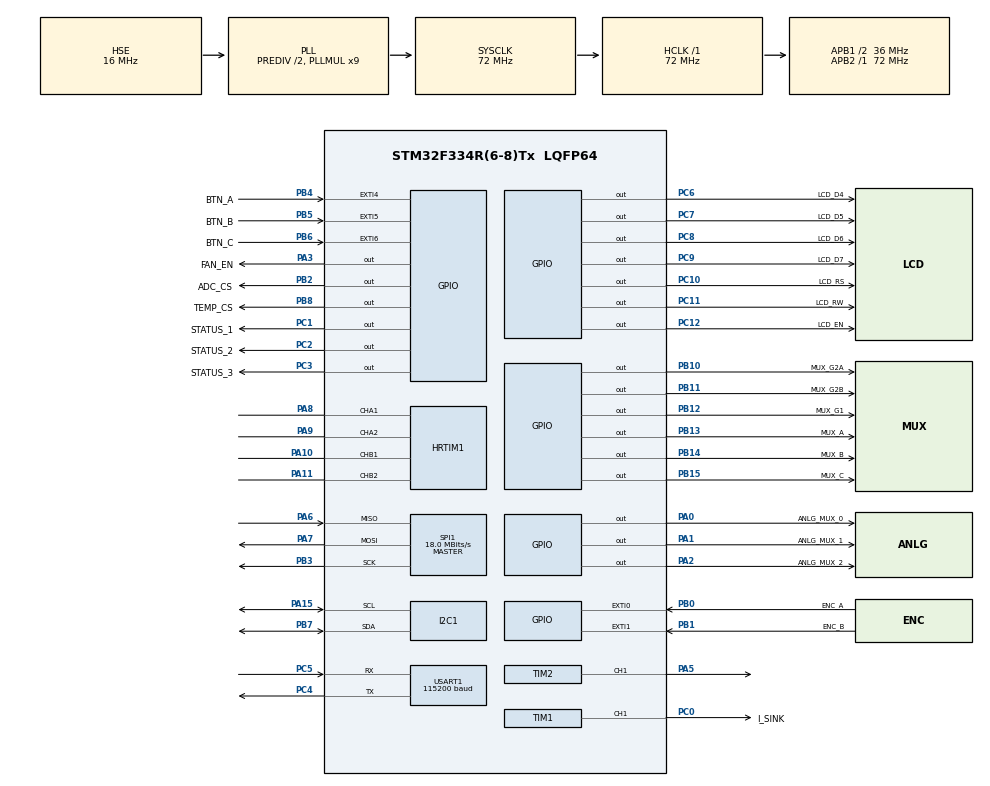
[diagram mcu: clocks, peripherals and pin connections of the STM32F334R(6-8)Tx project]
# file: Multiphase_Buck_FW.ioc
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HRTIM1.AutoDelayedMode2-Output_TA1TA2=HRTIM_AUTODELAYEDMODE_AUTODELAYED_NOTIMEOUT
HRTIM1.AutoDelayedMode2-Output_TB1TB2=HRTIM_AUTODELAYEDMODE_AUTODELAYED_NOTIMEOUT
HRTIM1.CompareUnit1-MasterTimer=HRTIM_COMPAREUNIT_1
HRTIM1.CompareUnit1-Output_TA1TA2=HRTIM_COMPAREUNIT_1
HRTIM1.CompareUnit1-Output_TB1TB2=HRTIM_COMPAREUNIT_1
HRTIM1.CompareUnit2-Output_TA1TA2=HRTIM_COMPAREUNIT_2
HRTIM1.CompareUnit2-Output_TB1TB2=HRTIM_COMPAREUNIT_2
HRTIM1.CompareUnit3-Output_TA1TA2=HRTIM_COMPAREUNIT_3
HRTIM1.CompareUnit3-Output_TB1TB2=HRTIM_COMPAREUNIT_3
HRTIM1.CompareValue1-MasterTimer=6000
HRTIM1.CompareValue1-Output_TA1TA2=6100
HRTIM1.CompareValue1-Output_TB1TB2=6000
HRTIM1.CompareValue2-Output_TA1TA2=6200
HRTIM1.CompareValue2-Output_TB1TB2=0x6100
HRTIM1.CompareValue3-Output_TA1TA2=12200
HRTIM1.CompareValue3-Output_TB1TB2=12000
HRTIM1.DeadTimeInsertion-Output_TA1TA2=HRTIM_TIMDEADTIMEINSERTION_DISABLED
HRTIM1.InterruptRequests1-Output_TA1TA2=HRTIM_TIM_IT_CMP1
HRTIM1.ModeTimeBase-Output_TA1TA2=HRTIM_MODE_SINGLESHOT_RETRIGGERABLE
HRTIM1.ModeTimeBase-Output_TB1TB2=HRTIM_MODE_SINGLESHOT_RETRIGGERABLE
HRTIM1.NumberInterruptRequests-Output_TA1TA2=0
HRTIM1.NumberResetSource1-Output_TA1TA2=1
HRTIM1.NumberResetSource1-Output_TB1TB2=1
HRTIM1.NumberResetSource2_TA=1
HRTIM1.NumberResetSource2_TB=1
HRTIM1.NumberResetTrigger-Output_TA1TA2=1
HRTIM1.NumberResetTrigger-Output_TB1TB2=1
HRTIM1.NumberSetSource1-Output_TA1TA2=1
HRTIM1.NumberSetSource1-Output_TB1TB2=1
HRTIM1.NumberSetSource2_TA=1
HRTIM1.NumberSetSource2_TB=1
HRTIM1.Periode_MASTER=0x2FFF
HRTIM1.Periode_TA=0x2fff
HRTIM1.Periode_TB=0x2FFF
HRTIM1.PrescalerRatio_TA=HRTIM_PRESCALERRATIO_MUL32
HRTIM1.ResetOutput1_Source1-Output_TA1TA2=HRTIM_OUTPUTRESET_TIMCMP1
HRTIM1.ResetOutput1_Source1-Output_TB1TB2=HRTIM_OUTPUTRESET_TIMCMP1
HRTIM1.ResetOutput2_Source1-Output_TA1TA2=HRTIM_OUTPUTRESET_TIMCMP3
HRTIM1.ResetOutput2_Source1-Output_TB1TB2=HRTIM_OUTPUTRESET_TIMCMP3
HRTIM1.ResetTrigger1-Output_TA1TA2=HRTIM_TIMRESETTRIGGER_MASTER_PER
HRTIM1.ResetTrigger1-Output_TB1TB2=HRTIM_TIMRESETTRIGGER_MASTER_CMP1
HRTIM1.SetOutput1_Source1-Output_TA1TA2=HRTIM_OUTPUTSET_MASTERPER
HRTIM1.SetOutput1_Source1-Output_TB1TB2=HRTIM_OUTPUTSET_MASTERCMP1
HRTIM1.SetOutput2_Source1-Output_TA1TA2=HRTIM_OUTPUTSET_TIMCMP2
HRTIM1.SetOutput2_Source1-Output_TB1TB2=HRTIM_OUTPUTSET_TIMCMP2
Mcu.Family=STM32F3
Mcu.Name=STM32F334R(6-8)Tx
Mcu.Package=LQFP64
NVIC.EXTI0_IRQn=true\:0\:0\:false\:false\:true\:true\:true
NVIC.EXTI1_IRQn=true\:0\:0\:false\:false\:true\:true\:true
NVIC.EXTI4_IRQn=true\:0\:0\:false\:false\:true\:true\:true
NVIC.EXTI9_5_IRQn=true\:0\:0\:false\:false\:true\:true\:true
NVIC.PriorityGroup=NVIC_PRIORITYGROUP_4
NVIC.TIM3_IRQn=true\:0\:0\:false\:false\:true\:true\:true
NVIC.TIM6_DAC1_IRQn=true\:0\:0\:false\:false\:true\:true\:true
PA0.GPIO_Label=ANLG_MUX_0
PA0.GPIO_Speed=GPIO_SPEED_FREQ_HIGH
PA0.Signal=GPIO_Output
PA1.GPIO_Label=ANLG_MUX_1
PA1.GPIO_Speed=GPIO_SPEED_FREQ_HIGH
PA1.Signal=GPIO_Output
PA10.Mode=Output_TB1TB2
PA10.Signal=HRTIM1_CHB1
PA11.Mode=Output_TB1TB2
PA11.Signal=HRTIM1_CHB2
PA13.Mode=Serial_Wire
PA13.Signal=SYS_JTMS-SWDIO
PA14.Mode=Serial_Wire
PA14.Signal=SYS_JTCK-SWCLK
PA15.Mode=I2C
PA15.Signal=I2C1_SCL
PA2.GPIO_Label=ANLG_MUX_2
PA2.GPIO_Speed=GPIO_SPEED_FREQ_HIGH
PA2.Signal=GPIO_Output
PA3.GPIO_Label=FAN_EN
PA3.GPIO_Speed=GPIO_SPEED_FREQ_LOW
PA3.PinState=GPIO_PIN_SET
PA3.Signal=GPIO_Output
PA5.Signal=S_TIM2_CH1_ETR
PA6.Mode=Full_Duplex_Master
PA6.Signal=SPI1_MISO
PA7.Mode=Full_Duplex_Master
PA7.Signal=SPI1_MOSI
PA8.Mode=Output_TA1TA2
PA8.Signal=HRTIM1_CHA1
PA9.Mode=Output_TA1TA2
PA9.Signal=HRTIM1_CHA2
PB0.GPIO_Label=ENC_A
PB0.GPIO_PuPd=GPIO_PULLDOWN
PB0.Signal=GPXTI0
PB1.GPIO_Label=ENC_B
PB1.GPIO_PuPd=GPIO_PULLDOWN
PB1.Signal=GPXTI1
PB10.GPIO_Label=MUX_G2A
PB10.GPIO_Speed=GPIO_SPEED_FREQ_HIGH
PB10.PinState=GPIO_PIN_SET
PB10.Signal=GPIO_Output
PB11.GPIO_Label=MUX_G2B
PB11.GPIO_Speed=GPIO_SPEED_FREQ_HIGH
PB11.PinState=GPIO_PIN_SET
PB11.Signal=GPIO_Output
PB12.GPIO_Label=MUX_G1
PB12.GPIO_Speed=GPIO_SPEED_FREQ_HIGH
PB12.Signal=GPIO_Output
PB13.GPIO_Label=MUX_A
PB13.GPIO_Speed=GPIO_SPEED_FREQ_HIGH
PB13.Signal=GPIO_Output
PB14.GPIO_Label=MUX_B
PB14.GPIO_Speed=GPIO_SPEED_FREQ_HIGH
PB14.Signal=GPIO_Output
PB15.GPIO_Label=MUX_C
PB15.GPIO_Speed=GPIO_SPEED_FREQ_HIGH
PB15.Signal=GPIO_Output
PB2.GPIO_Label=ADC_CS
PB2.GPIO_Speed=GPIO_SPEED_FREQ_HIGH
PB2.PinState=GPIO_PIN_SET
PB2.Signal=GPIO_Output
PB3.Mode=Full_Duplex_Master
PB3.Signal=SPI1_SCK
PB4.GPIO_Label=BTN_A
PB4.GPIO_PuPd=GPIO_PULLDOWN
PB4.Signal=GPXTI4
PB5.GPIO_Label=BTN_B
PB5.GPIO_PuPd=GPIO_PULLDOWN
PB5.Signal=GPXTI5
PB6.GPIO_Label=BTN_C
PB6.GPIO_PuPd=GPIO_PULLDOWN
PB6.Signal=GPXTI6
PB7.Mode=I2C
PB7.Signal=I2C1_SDA
PB8.GPIO_Label=TEMP_CS
PB8.GPIO_Speed=GPIO_SPEED_FREQ_HIGH
PB8.PinState=GPIO_PIN_SET
PB8.Signal=GPIO_Output
PC0.GPIO_Label=I_SINK
PC0.Signal=S_TIM1_CH1
PC1.GPIO_Label=STATUS_1
PC1.Signal=GPIO_Output
PC10.GPIO_Label=LCD_RS
PC10.GPIO_Speed=GPIO_SPEED_FREQ_HIGH
PC10.Signal=GPIO_Output
PC11.GPIO_Label=LCD_RW
PC11.GPIO_Speed=GPIO_SPEED_FREQ_HIGH
PC11.Signal=GPIO_Output
PC12.GPIO_Label=LCD_EN
PC12.GPIO_Speed=GPIO_SPEED_FREQ_HIGH
PC12.Signal=GPIO_Output
PC2.GPIO_Label=STATUS_2
PC2.Signal=GPIO_Output
PC3.GPIO_Label=STATUS_3
PC3.Signal=GPIO_Output
PC4.Mode=Asynchronous
PC4.Signal=USART1_TX
PC5.Mode=Asynchronous
PC5.Signal=USART1_RX
PC6.GPIO_Label=LCD_D4
PC6.Signal=GPIO_Output
PC7.GPIO_Label=LCD_D5
PC7.GPIO_Speed=GPIO_SPEED_FREQ_HIGH
PC7.Signal=GPIO_Output
PC8.GPIO_Label=LCD_D6
PC8.GPIO_Speed=GPIO_SPEED_FREQ_HIGH
PC8.Signal=GPIO_Output
PC9.GPIO_Label=LCD_D7
PC9.GPIO_Speed=GPIO_SPEED_FREQ_HIGH
PC9.Signal=GPIO_Output
PF0\ /\ OSC_IN.Mode=HSE-External-Oscillator
PF0\ /\ OSC_IN.Signal=RCC_OSC_IN
PF1\ /\ OSC_OUT.Mode=HSE-External-Oscillator
PF1\ /\ OSC_OUT.Signal=RCC_OSC_OUT
ProjectManager.HeapSize=0x200
ProjectManager.StackSize=0x400
ProjectManager.TargetToolchain=Makefile
RCC.AHBFreq_Value=72000000
RCC.APB1CLKDivider=RCC_HCLK_DIV2
RCC.APB1Freq_Value=36000000
RCC.APB1TimFreq_Value=72000000
RCC.APB2Freq_Value=72000000
RCC.APB2TimFreq_Value=72000000
RCC.CortexFreq_Value=72000000
RCC.HCLKFreq_Value=72000000
RCC.HRTIMSelection=RCC_HRTIM1CLK_PLLCLK
RCC.HSE_VALUE=16000000
RCC.HSI_VALUE=8000000
RCC.LSE_VALUE=32768
RCC.PLLMUL=RCC_PLL_MUL9
RCC.PLLSourceVirtual=RCC_PLLSOURCE_HSE
RCC.RCC_PLLsource_Clock_Source_FROM_HSE=RCC_HSE_PREDIV_DIV2
RCC.SYSCLKFreq_VALUE=72000000
RCC.SYSCLKSourceVirtual=RCC_SYSCLKSOURCE_PLLCLK
SH.S_TIM1_CH1.0=TIM1_CH1,PWM Generation1 CH1
SH.S_TIM2_CH1_ETR.0=TIM2_CH1,PWM Generation1 CH1
SPI1.BaudRatePrescaler=SPI_BAUDRATEPRESCALER_4
SPI1.CLKPhase=SPI_PHASE_2EDGE
SPI1.CLKPolarity=SPI_POLARITY_HIGH
SPI1.CalculateBaudRate=18.0 MBits/s
SPI1.DataSize=SPI_DATASIZE_8BIT
SPI1.Direction=SPI_DIRECTION_2LINES
SPI1.Mode=SPI_MODE_MASTER
SPI1.VirtualType=VM_MASTER
TIM1.AutoReloadPreload=TIM_AUTORELOAD_PRELOAD_ENABLE
TIM1.BreakState=TIM_BREAK_ENABLE
TIM1.Channel-PWM\ Generation1\ CH1=TIM_CHANNEL_1
TIM1.ClockDivision=TIM_CLOCKDIVISION_DIV1
TIM1.OCMode_PWM-PWM\ Generation1\ CH1=TIM_OCMODE_PWM1
TIM1.Period=0x1f4
TIM1.Prescaler=0
TIM2.AutoReloadPreload=TIM_AUTORELOAD_PRELOAD_ENABLE
TIM2.Channel-PWM\ Generation1\ CH1=TIM_CHANNEL_1
TIM2.Period=0xFFFF
TIM2.Pulse-PWM\ Generation1\ CH1=30000
TIM3.AutoReloadPreload=TIM_AUTORELOAD_PRELOAD_ENABLE
TIM3.Channel-Output\ Compare1\ No\ Output=TIM_CHANNEL_1
TIM3.OC1Preload=ENABLE
TIM3.OCMode_1=TIM_OCMODE_TIMING
TIM3.Period=2400
TIM3.Pulse-Output\ Compare1\ No\ Output=2400
TIM6.AutoReloadPreload=TIM_AUTORELOAD_PRELOAD_ENABLE
TIM6.Period=0xFFFF
TIM6.Prescaler=36
USART1.BaudRate=115200
USART1.VirtualMode-Asynchronous=VM_ASYNC
VP_HRTIM1_VS_hrtimMasterTimerNoOutput.Mode=MasterTimer
VP_TIM1_VS_ClockSourceINT.Mode=Internal
VP_TIM3_VS_ClockSourceINT.Mode=Internal
VP_TIM3_VS_no_output1.Mode=Output Compare1 No Output
VP_TIM6_VS_ClockSourceINT.Mode=Enable_Timer
board=custom

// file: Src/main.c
/* USER CODE BEGIN Header */
/**
  ******************************************************************************
  * @file           : main.c
  * @brief          : Main program body
  ******************************************************************************
  * @attention
  *
  * <h2><center>&copy; Copyright (c) 2020 STMicroelectronics.
  * All rights reserved.</center></h2>
  *
  * This software component is licensed by ST under BSD 3-Clause license,
  * the "License"; You may not use this file except in compliance with the
  * License. You may obtain a copy of the License at:
  *                        opensource.org/licenses/BSD-3-Clause
  *
  ******************************************************************************
  */
/* USER CODE END Header */

#include "main.h"
#include "hrtim.h"
#include "i2c.h"
#include "spi.h"
#include "tim.h"
#include "usart.h"
#include "gpio.h"

/* USER CODE BEGIN Includes */
#include "lcd.h"
#include "ad7172.h"
#include "stdbool.h"
#include "stdio.h"
#include "string.h"
#include "math.h"
/* USER CODE END Includes */

/* USER CODE BEGIN PTD */
typedef unsigned char uint8;
/* USER CODE END PTD */

/* USER CODE BEGIN PD */
#define LCD_BUF_SIZE 32
#define VOUT_SENSE_DIV    22624
#define VIN_SENSE_DIV     23624
#define SUPPLY_SENSE_DIV  23.62443439
#define TIMER_PERIOD      0x2FFF

/* timer period in ns */
#define TIMER_PERIOD_NS   2666

/* inductance in nano-Henries */
#define L_NH              6800

/* how to know when we should be in discontinuous mode */
#define DCM_MARGIN        1.0

/* allowable devation from setpoint, in millivolts */
#define VOUT_ERROR_MARGIN 5

#define I_SENSE_CH        0
#define VOUT_SENSE_CH     1
#define VIN_SENSE_CH      2

#define VSET_MAX          49.0

#define VIN_SAMPLE_RATE   250
#define I_SAMPLE_RATE     20
#define V_SAMPLE_DEPTH    64
#define I_SAMPLE_DEPTH    16

/* counts of deadtime to insert between high side and low side switching (~55ns) */
#define DEADTIME_COUNTS   256

/* gain x 1000 */
#define I_SHUNT_GAIN      21100
/* Current shunt value in milliohms */
#define I_SHUNT           4

/* USER CODE END PD */

/* USER CODE BEGIN PM */
/* converts millivolts read by ADC to true voltage in millivolts */
#define V_SENSE_MV(mv)    (mv*VOUT_SENSE_DIV)/1000
#define VIN_SENSE_MV(mv)  (mv*VIN_SENSE_DIV)/1000

/* converts from millivolts read by ADC to output current in milliamps */
#define I_OUT_MA(mv_adc)  (mv_adc*1000)/(I_SHUNT*I_SHUNT_GAIN)
/* USER CODE END PM */

/* USER CODE BEGIN PV */
uint8 debug_buf[512];
float voltage_12v = 12.0;
float voltage_24v = 24.0;
float voltage_36v = 36.0;
float voltage_48v = 48.0;

uint8_t   input_relay   = 0; // selects which relay should be active (1 - 4)
uint8_t   last_relay    = 0; // tracks the last value of input_relay

uint32_t  vout_sense_div= VOUT_SENSE_DIV;
uint32_t  vout          = 0; // output voltage in millivolts
uint32_t  vout_meas_raw = 0; // voltage at the ADC input in millivolts
uint32_t  iout_meas_raw = 0; // amplified shunt voltage at the ADC input in millivolts
uint32_t  iout          = 0; // output current in milliamps (mA)
uint32_t  vin_sense_div = VIN_SENSE_DIV;
uint32_t  vin_meas_raw  = 0; // voltage at the ADC input in millivolts
uint32_t  vin           = 0; // input voltage in millivolts
int       kp            = 16;
int       ki            = 2;
int       kd            = 1;
int       verr          = 0;
int       last_verr     = 0;
int       verr_integ    = 0;
int       n_duty_max    = 0;

bool      update_lcd_flag = false;
float     user_vset     = 5.0; // initial voltage set: 5.0V
float     user_ilim     = 5.0; // initial current limit: 5.0A
uint32_t  vout_setpt    = 0; // output setpoint in millivolts
uint32_t  iout_limit    = 0; // output current limit in milliamps
uint32_t  vout_set_last = 0; // to store the last setpoint
uint16_t  duty_max      = 0; // max total duty cycle that would be required for this vout_setpt
uint16_t  duty_phase_1  = 0; // hi-side duty cycle for phase 1
uint16_t  rect_phase_1  = 0; // rectifier duty cycle for phase 1
uint16_t  duty_phase_2  = 0; // hi-side duty cycle for phase 2
uint16_t  rect_phase_2  = 0; // rectifier duty cycle for phase 2

int       v_sample_ind  = 0; // position of most recently added sample
uint32_t  v_samples[V_SAMPLE_DEPTH]; // voltage sample memory
int       i_sample_ind  = 0;
uint32_t  i_samples[I_SAMPLE_DEPTH];

bool      dcm           = false; // flag to indicate if we're in discontinuous conduction mode
int       i_pk          = 0; // peak inductor current

bool output_en          = false; // flag to indicate that user has enabled the output
bool last_output_en     = false; // stores last state of output_en to detect state change
bool phase_1_en         = false; // flag to enable phase 1
bool phase_2_en         = false; // flag to enable phase 2

int     cursor_ind          = 0;
int     last_cursor_ind     = -1;
float   input_powers[]      = {10.0, 1.0, 0.1, 0.01, 10.0, 1.0, 0.1, 0.01};
uint8_t input_line[8];
char    lcd_buf[128];             // give ourselves space for goofing up
char    lcd_line_0[16];           // page 1 line 0
char    lcd_line_1[16];           // page 1 line 1
char    lcd_line_2[16];           // page 2 line 0
char    lcd_line_3[16];           // page 2 line 1
uint8_t enc_a_state         = 0;  //
uint8_t enc_b_state         = 0;
bool    btn_a_pressed       = false;
bool    btn_b_pressed       = false;
bool    btn_c_pressed       = false;
bool    poll_adc            = false; // flag to tell the main loop to poll the ADC
int     poll_num            = 0; // tracks how many polls we've done
int 		encoder_counts 		  = 0;
int 		last_encoder_counts = 0;

AD7172_TypeDef adc = {
  .hspi = &hspi1,
  .cs_port = ADC_CS_GPIO_Port,
  .cs_pin = ADC_CS_Pin
};

// configs for setup 0
uint16_t adc_filt_0   = AD7172_ODR_15625; // 15.625 kSPS
uint16_t adc_if_mode  = AD7172_IOSTRENGTH | AD7172_DATA_STAT;
uint16_t adc_mode     = AD7172_REF_EN | AD7172_MODE_CONT_CONV;
uint32_t adc_offset_0 = 0; // will be set in calibration
uint32_t adc_gain_0   = 0; // will be set during calibration

/* USER CODE END PV */

void SystemClock_Config(void);
/* USER CODE BEGIN PFP */
int clamp(int value, int lower, int upper);
uint16_t clamp16(uint16_t value, uint16_t lower, uint16_t upper);
float fclamp(float value, float lower, float upper);
int map(int x, int in_min, int in_max, int out_min, int out_max);
void debug(char* str);
void status_1_on();
void status_1_off();
void status_2_on();
void status_2_off();
void status_3_on();
void status_3_off();
bool poll_ad7172();
void increment_input_line();
void decrement_input_line();
void update_input_line();
void update_lcd();
void add_v_sample(uint32_t v_sample);
void add_i_sample(uint32_t i_sample);
float get_avg_voltage(int depth);
float get_avg_current(int depth);
float read_supply_channel();
float sense_12v_supply();
float sense_24v_supply();
float sense_36v_supply();
float sense_48v_supply();
float sense_vin();
void set_supply_mux(uint8_t input);
void enable_supply();
void disable_supply();
bool check_tolerance(float value, float target, float tolerance);
bool check_for_dcm(uint8_t phase);
void refactor_duty_cycle();
void enable_phase(uint8_t phase);
void disable_phase(uint8_t phase);
void update_phase_duty_cycle(uint8_t phase, uint16_t duty, uint16_t rect);
/* USER CODE END PFP */

int main(void)
{

  /* MCU Configuration--------------------------------------------------------*/

  /* Reset of all peripherals, Initializes the Flash interface and the Systick. */
  HAL_Init();

  /* Configure the system clock */
  SystemClock_Config();

  /* Initialize all configured peripherals */
  MX_GPIO_Init();
  MX_HRTIM1_Init();
  MX_I2C1_Init();
  MX_SPI1_Init();
  MX_TIM1_Init();
  MX_TIM2_Init();
  MX_USART1_UART_Init();
  MX_TIM3_Init();
  MX_TIM6_Init();
  /* USER CODE BEGIN 2 */

  HAL_TIM_Base_Start(&htim1);
  HAL_TIM_Base_Start(&htim2);
  HAL_TIM_PWM_Start(&htim2, TIM_CHANNEL_1);
  htim2.Instance->CCR1 = 5000;
  HAL_TIM_Base_Start_IT(&htim6);
  HAL_TIM_Base_Start_IT(&htim3);

  // ==== SETUP LCD ====
  LCD_Init();
  strcpy(lcd_line_0, "CWRUbotix!");
  LCD_Puts(0, 0, lcd_line_0);
  sprintf(lcd_line_2, " VSET | ILIM");
  sprintf(lcd_line_0, " VOUT | IOUT");

  // ==== SETUP ADC ====
  bool setup_success = true; // start true
  HAL_Delay(500); // delay for whatever

  debug("AD7172 reset ");
  if(setup_success = setup_success && ad7172_reset(&adc)){
    debug("SUCCEEDED\r\n");
  }else{
    debug("FAILED\r\n");
  }

  HAL_Delay(10); // short delay cuz why not
  debug("AD7172 ID read... ");
  if(setup_success = setup_success && ad7172_check_id(&adc)){
    debug("SUCCEEDED\r\n");
  }else{
    debug("FAILED\r\n");
  }
  sprintf(debug_buf, "ID: 0x%x\r\n", adc.id);
  debug(debug_buf);

  // CALIBRATE
  setup_success = setup_success && ad7172_calibrate(&adc);

  // configure each ADC channel
  debug("AD7172 configure channels...\r\n");
  /* current sense channel */
  setup_success = setup_success && ad7172_config_channel(&adc, I_SENSE_CH, AD7172_SETUP_SEL_0 | AD7172_AINPOS_AIN0 | AD7172_AINNEG_AIN1);
  /* voltage sense channel */
  setup_success = setup_success && ad7172_config_channel(&adc, VOUT_SENSE_CH, AD7172_SETUP_SEL_0 | AD7172_AINPOS_AIN2 | AD7172_AINNEG_AIN4);
  /* supply sense channel */
  setup_success = setup_success && ad7172_config_channel(&adc, VIN_SENSE_CH, AD7172_SETUP_SEL_0 | AD7172_AINPOS_AIN3 | AD7172_AINNEG_AIN4);

  // setup configuration
  debug("AD7172 configure setups...\r\n");
  setup_success = setup_success && ad7172_config_setup(&adc, 0, AD7172_UNIPOLAR | AD7172_REF_SEL_INT_2V5 | AD7172_AINBUF_P_EN);
  debug("AD7172 configure filters...\r\n");
  setup_success = setup_success && ad7172_config_filter(&adc, 0, AD7172_ODR_31250);

  // adc mode and interface mode configuration
  debug("AD7172 configure mode...\r\n");
  setup_success = setup_success && ad7172_config_adc_mode(&adc, AD7172_REF_EN | AD7172_MODE_CONT_CONV);
  setup_success = setup_success && ad7172_config_if_mode(&adc, AD7172_IOSTRENGTH | AD7172_DATA_STAT);

  if(setup_success){
    debug("SUCCEEDED\r\n");
    // status_1_on();
  }else{
    debug("FAILED\r\n");
    status_1_off();
    // hang
    while(!setup_success){
      status_1_on();status_2_on();status_3_on();
      HAL_Delay(500);
      status_1_off();status_2_off();status_3_off();
      HAL_Delay(500);
      debug("Setup failed. Press reset button...\r\n");
    }
  }
  voltage_12v = sense_12v_supply();
  voltage_24v = sense_24v_supply();
  voltage_36v = sense_36v_supply();
  voltage_48v = sense_48v_supply();
  sense_vin(); // sets the analog mux to VIN

  sprintf(debug_buf, "12V: %.2fV ", voltage_12v);
  debug(debug_buf);
  if(check_tolerance(voltage_12v, 12.5, 0.5)){ debug("PASSED\r\n");
  }else{ debug("FAILED\r\n");
  }

  sprintf(debug_buf, "24V: %.2fV ", voltage_24v);
  debug(debug_buf);
  if(check_tolerance(voltage_24v, 25.0, 1.0)){ debug("PASSED\r\n");
  }else{ debug("FAILED\r\n");
  }

  sprintf(debug_buf, "36V: %.2fV ", voltage_36v);
  debug(debug_buf);
  if(check_tolerance(voltage_36v, 37.5, 1.5)){ debug("PASSED\r\n");
  }else{ debug("FAILED\r\n");
  }

  sprintf(debug_buf, "48V: %.2fV ", voltage_48v);
  debug(debug_buf);
  if(check_tolerance(voltage_48v, 50.0, 2.0)){ debug("PASSED\r\n");
  }else{ debug("FAILED\r\n");
  }

  ad7172_enable_channel(&adc, VOUT_SENSE_CH);
  /* USER CODE END 2 */

  /* Infinite loop */
  while (1)
  {

    /* USER CODE BEGIN 3 */

    // ==== ADC THINGS ====
    if(poll_adc){
      poll_adc = !poll_ad7172(); // if poll was successful, flag will be reset
    }

    // ==== SETPOINT THINGS ====
    if(vout_setpt != vout_set_last){
      // check if we need switch relays
      last_relay = input_relay;
      if( vout_setpt <= (uint32_t)((voltage_12v - 1.0)*1000.0) ){
        input_relay = 1;
      }else if( vout_setpt <= (uint32_t)((voltage_24v - 1.0)*1000.0) ){
        input_relay = 2;
      }else if( vout_setpt <= (uint32_t)((voltage_36v - 1.0)*1000.0) ){
        input_relay = 3;
      }else{
        input_relay = 4;
      }
      if(input_relay > last_relay){
        disable_supply();
        HAL_Delay(8);
        set_supply_mux(input_relay);
        HAL_Delay(8);
        enable_supply();
        ad7172_enable_channel(&adc, VIN_SENSE_CH); // enable the VIN sense channel to be sure this gets updated soon
      }else if(input_relay < last_relay){
        disable_supply();
        HAL_Delay(100 * (last_relay - input_relay)); // wait for vin rail to drop
        set_supply_mux(input_relay);
        enable_supply();
        ad7172_enable_channel(&adc, VIN_SENSE_CH); // enable the VIN sense channel to be sure this gets updated soon
      }
    }

    // ==== OUTPUT ENABLE THINGS ====
    if(output_en != last_output_en){
      if(output_en){
        // start up sequence
        status_3_on();
        enable_phase(1);
        enable_phase(2);
      }else{
        // we've just been shut down!
        status_3_off();
        disable_phase(1);
        disable_phase(2);
      }
    }
    last_output_en = output_en;

    // ==== LCD THINGS ====
    if(update_lcd_flag){
      update_lcd_flag = false;
      update_lcd();
      // status_3_off();
    }
  }
  /* USER CODE END 3 */
}

void SystemClock_Config(void)
{
  RCC_OscInitTypeDef RCC_OscInitStruct = {0};
  RCC_ClkInitTypeDef RCC_ClkInitStruct = {0};
  RCC_PeriphCLKInitTypeDef PeriphClkInit = {0};

  /** Initializes the CPU, AHB and APB busses clocks
  */
  RCC_OscInitStruct.OscillatorType = RCC_OSCILLATORTYPE_HSI|RCC_OSCILLATORTYPE_HSE;
  RCC_OscInitStruct.HSEState = RCC_HSE_ON;
  RCC_OscInitStruct.HSEPredivValue = RCC_HSE_PREDIV_DIV2;
  RCC_OscInitStruct.HSIState = RCC_HSI_ON;
  RCC_OscInitStruct.HSICalibrationValue = RCC_HSICALIBRATION_DEFAULT;
  RCC_OscInitStruct.PLL.PLLState = RCC_PLL_ON;
  RCC_OscInitStruct.PLL.PLLSource = RCC_PLLSOURCE_HSE;
  RCC_OscInitStruct.PLL.PLLMUL = RCC_PLL_MUL9;
  if (HAL_RCC_OscConfig(&RCC_OscInitStruct) != HAL_OK)
  {
    Error_Handler();
  }
  /** Initializes the CPU, AHB and APB busses clocks
  */
  RCC_ClkInitStruct.ClockType = RCC_CLOCKTYPE_HCLK|RCC_CLOCKTYPE_SYSCLK
                              |RCC_CLOCKTYPE_PCLK1|RCC_CLOCKTYPE_PCLK2;
  RCC_ClkInitStruct.SYSCLKSource = RCC_SYSCLKSOURCE_PLLCLK;
  RCC_ClkInitStruct.AHBCLKDivider = RCC_SYSCLK_DIV1;
  RCC_ClkInitStruct.APB1CLKDivider = RCC_HCLK_DIV2;
  RCC_ClkInitStruct.APB2CLKDivider = RCC_HCLK_DIV1;

  if (HAL_RCC_ClockConfig(&RCC_ClkInitStruct, FLASH_LATENCY_2) != HAL_OK)
  {
    Error_Handler();
  }
  PeriphClkInit.PeriphClockSelection = RCC_PERIPHCLK_HRTIM1|RCC_PERIPHCLK_USART1
                              |RCC_PERIPHCLK_I2C1|RCC_PERIPHCLK_TIM1;
  PeriphClkInit.Usart1ClockSelection = RCC_USART1CLKSOURCE_PCLK1;
  PeriphClkInit.I2c1ClockSelection = RCC_I2C1CLKSOURCE_HSI;
  PeriphClkInit.Tim1ClockSelection = RCC_TIM1CLK_HCLK;
  PeriphClkInit.Hrtim1ClockSelection = RCC_HRTIM1CLK_PLLCLK;
  if (HAL_RCCEx_PeriphCLKConfig(&PeriphClkInit) != HAL_OK)
  {
    Error_Handler();
  }
}

/* USER CODE BEGIN 4 */

void HAL_GPIO_EXTI_Callback(uint16_t GPIO_Pin){
  // encoder and button things
  // HAL_GPIO_TogglePin(STATUS_2_GPIO_Port, STATUS_2_Pin);

  if(GPIO_Pin == ENC_A_Pin){
    if(!HAL_GPIO_ReadPin(ENC_B_GPIO_Port, ENC_B_Pin)){
      increment_input_line();
    }
  }else if(GPIO_Pin == ENC_B_Pin){
    if(!HAL_GPIO_ReadPin(ENC_A_GPIO_Port, ENC_A_Pin)){
      decrement_input_line();
    }
  }else if(GPIO_Pin == BTN_A_Pin){
    // if knob button (enter) was pressed
    if(cursor_ind < 0){
      // we're on home screen, so toggle enabled
      output_en = !output_en;
    }else if(cursor_ind < 4){
      vout_set_last = vout_setpt;
      vout_setpt = (uint32_t)(user_vset*1000.0);
      cursor_ind = -1;
      output_en = true;
    }else{
      iout_limit = (uint32_t)(user_ilim*1000.0);
      cursor_ind = -1;
      output_en = true;
    }

  }else if(GPIO_Pin == BTN_B_Pin){
    btn_b_pressed = true;
    cursor_ind--;
  }else if(GPIO_Pin == BTN_C_Pin){
    btn_c_pressed = true;
    cursor_ind++;
  }else{
    // undefined case, do nothing
  }
}

/**
 * @brief callback to trigger polling from the ADC or trigger update of LCD
 */
void HAL_TIM_PeriodElapsedCallback(TIM_HandleTypeDef *htim){
  if(htim->Instance == TIM3){
    // time to read from the ADC
    poll_adc = true;

  }else if(htim->Instance == TIM6){
    // HAL_GPIO_TogglePin(STATUS_3_GPIO_Port, STATUS_3_Pin);
    // sprintf(debug_buf, "Duty cycle: %d\r\n", duty_phase_1);
    // debug(debug_buf);
    update_lcd_flag = true;
  }
}

/**
 * @brief clamps value between upper and lower
 */
uint16_t clamp16(uint16_t value, uint16_t lower, uint16_t upper){
  return (value > upper ? upper : (value < lower ? lower : value));
}

/**
 * @brief clamps value between lower and upper
 */
int clamp(int value, int lower, int upper){
  return (value > upper ? upper : (value < lower ? lower : value));
}

/**
 * @brief clamps value between lower and upper
 */
float fclamp(float value, float lower, float upper){
  return (value > upper ? upper : (value < lower ? lower : value));
}

int map(int x, int in_min, int in_max, int out_min, int out_max) {
  return (x - in_min) * (out_max - out_min) / (in_max - in_min) + out_min;
}

void debug(char* str){
  HAL_UART_Transmit(&huart1, str, strlen(str), 10);
}

void status_1_on(){
  HAL_GPIO_WritePin(STATUS_1_GPIO_Port, STATUS_1_Pin, GPIO_PIN_SET);
}
void status_1_off(){
  HAL_GPIO_WritePin(STATUS_1_GPIO_Port, STATUS_1_Pin, GPIO_PIN_RESET);
}
void status_2_on(){
  HAL_GPIO_WritePin(STATUS_2_GPIO_Port, STATUS_2_Pin, GPIO_PIN_SET);
}
void status_2_off(){
  HAL_GPIO_WritePin(STATUS_2_GPIO_Port, STATUS_2_Pin, GPIO_PIN_RESET);
}
void status_3_on(){
  HAL_GPIO_WritePin(STATUS_3_GPIO_Port, STATUS_3_Pin, GPIO_PIN_SET);
}
void status_3_off(){
  HAL_GPIO_WritePin(STATUS_3_GPIO_Port, STATUS_3_Pin, GPIO_PIN_RESET);
}

bool poll_ad7172(){
  if(ad7172_read_conv(&adc, 10)){
    switch(adc.status & 0x03){
    case VOUT_SENSE_CH:{
      // HAL_GPIO_TogglePin(STATUS_1_GPIO_Port, STATUS_1_Pin);
      vout_meas_raw = ad7172_conv_to_mv(adc.conversions[VOUT_SENSE_CH]);
      vout = V_SENSE_MV(vout_meas_raw);
      add_v_sample(vout);
      if(output_en){
        refactor_duty_cycle(); // this should be synchronous with ADC updates
        update_phase_duty_cycle(1, duty_phase_1, rect_phase_1);
        update_phase_duty_cycle(2, duty_phase_2, rect_phase_2);
      }
      break;}
    case I_SENSE_CH:{
      iout_meas_raw = ad7172_conv_to_mv(adc.conversions[I_SENSE_CH]);
      iout = I_OUT_MA(iout_meas_raw);
      add_i_sample(iout);
      ad7172_disable_channel(&adc, I_SENSE_CH); // disable channel until another I_SAMPLE_RATE voltage samples have passed
      break;}
    case VIN_SENSE_CH:{
      vin_meas_raw = ad7172_conv_to_mv(adc.conversions[VIN_SENSE_CH]);
      vin = VIN_SENSE_MV(vin_meas_raw);
      ad7172_disable_channel(&adc, VIN_SENSE_CH); // disable channel until another VIN_SAMPLE_RATE voltage samples have passed
      break;}
    default:{
      break;}
    }
    poll_num++;
    if(poll_num % I_SAMPLE_RATE == 0){
      ad7172_enable_channel(&adc, I_SENSE_CH); // enable current sense channel every so often
    }
    if(poll_num % VIN_SAMPLE_RATE == 0){
      ad7172_enable_channel(&adc, VIN_SENSE_CH); // enable supply sense channel every now and then
    }
  }
}

/**
 * @brief to be called to increment voltage or current based on LCD cursor position
 */
void increment_input_line(){
  if(cursor_ind < 0){
    return;
  }else if(cursor_ind < 4){
    // voltage
    user_vset += input_powers[cursor_ind];
    user_vset = fclamp(user_vset, 0.0, VSET_MAX);
  }else if(cursor_ind < 8){
    // current
    user_ilim += input_powers[cursor_ind];
    user_ilim = fclamp(user_ilim, 0.0, 30.0);
  }else{
    return;
  }
}

/**
 * @brief to be called to decrement voltage or current based on LCD cursor position
 */
void decrement_input_line(){
  if(cursor_ind < 0){
    return;
  }else if(cursor_ind < 4){
    // voltage
    user_vset -= input_powers[cursor_ind];
    user_vset = fclamp(user_vset, 0.0, VSET_MAX);
  }else if(cursor_ind < 8){
    // current
    user_ilim -= input_powers[cursor_ind];
    user_ilim = fclamp(user_ilim, 0.0, 30.0);
  }else{
    return;
  }
}

/**
 * @brief Call periodically to display info on LCD
 */
void update_lcd(){
  cursor_ind = clamp(cursor_ind, -1, 7);

  if(cursor_ind < 0){
    // display status page
    float v_avg = get_avg_voltage(5)/1000.0;
    float i_avg = get_avg_current(3)/1000.0;

    LCD_CursorOff();

    int offset = 0;
    if(v_avg < 10.0){
      offset = sprintf(lcd_buf, " %3.2f |", v_avg);
    }else{
      offset = sprintf(lcd_buf, "%4.2f |", v_avg);
    }if(i_avg < 10.0){
      offset += sprintf(lcd_buf + offset, " %3.2f ", i_avg);
    }else{
      offset += sprintf(lcd_buf + offset, "%4.2f ", i_avg);
    }

    if(output_en){
      sprintf(lcd_buf + offset, " ON");
    }else{
      sprintf(lcd_buf + offset, "OFF");
    }
    if(last_cursor_ind >= 0){
      LCD_Puts(0,0,lcd_line_0);
    }
    LCD_Puts(0,1,lcd_buf);
    LCD_CursorOn();
    LCD_CursorSet(13, 1);

  }else{
    // display settings page

    LCD_CursorOff();
    int offset = 0;
    if(user_vset < 10.0){
      offset = sprintf(lcd_buf, "0%3.2f | ", user_vset);
    }else{
      offset = sprintf(lcd_buf, "%4.2f | ", user_vset);
    }if(user_ilim < 10.0){
      sprintf(lcd_buf + offset, "0%3.2f   ", user_ilim);
    }else{
      sprintf(lcd_buf + offset, "%4.2f   ", user_ilim);
    }

    if(last_cursor_ind < 0){
      LCD_Puts(0,0,lcd_line_2);
    }

    LCD_Puts(0,1,lcd_buf);
    uint8_t cols[] = {0, 1, 3, 4, 8, 9, 11, 12};
    LCD_CursorOn();
    LCD_CursorSet(cols[cursor_ind], 1);

  }
  last_cursor_ind = cursor_ind;

}

/**
 * @brief adds v_sample to v_samples. increments v_sample_ind & wraps once v_sample_ind >= V_SAMPLE_DEPTH
 * @param sample to add to v_samples at next v_sample_ind
 */
void add_v_sample(uint32_t v_sample){
  v_sample_ind++;
  if(v_sample_ind >= V_SAMPLE_DEPTH){
    v_sample_ind = 0;
  }
  v_samples[v_sample_ind] = v_sample;
}

void add_i_sample(uint32_t i_sample){
  i_sample_ind++;
  if(i_sample_ind >= I_SAMPLE_DEPTH){
    i_sample_ind = 0;
  }
  i_samples[i_sample_ind] = i_sample;
}

/**
 * @brief computes the average of v_samples at the specified sample depth
 * @param depth number of previous samples over which to compute the average
 * @return arithmatic mean of "depth" many samples from v_samples
 */
float get_avg_voltage(int depth){
  if(depth > V_SAMPLE_DEPTH){
    depth = V_SAMPLE_DEPTH;
  }
  float weight = 1.0/depth;
  float avg = 0.0;
  bool done = false;
  int i = v_sample_ind;
  int count = 0;
  while(count < depth){
    avg += weight * ((float)v_samples[i]);
    count++;
    i--;
    if(i < 0){
      i = V_SAMPLE_DEPTH - 1;
    }
  }
  return avg;
}

/**
 * @brief computes the average of i_samples at the specified sample depth
 * @param depth number of previous samples over which to compute the average
 * @return arithmatic mean of "depth" many samples from i_samples
 */
float get_avg_current(int depth){
  if(depth > I_SAMPLE_DEPTH){
    depth = I_SAMPLE_DEPTH;
  }
  float weight = 1.0/depth;
  float avg = 0.0;

  // start at the most recent sample and work backwards
  int i = i_sample_ind;
  int count = 0;
  while(count < depth){
    avg += weight * ((float)i_samples[i]);
    count++;
    i--;
    if(i < 0){ // if we've hit the beginning
      i = I_SAMPLE_DEPTH - 1; // wrap around to the end
    }
  }
  return avg;
}

/**
 * @brief reads from the ADC the channel for supply voltage
 * @return the voltage read from the supply channel or -1.0 in case of failure
 */
float read_supply_channel(){
  ad7172_enable_channel(&adc, 2);
  HAL_Delay(1); // wait for a few conversions to occur
  int readings = 0;
  int timeout = 0;
  uint32_t results[4];

  while(readings < 4 && timeout < 100){
    if(ad7172_read_conv(&adc, 161) && (adc.status & 0x03) == 2 ){
      results[readings] = adc.conversions[2];
      readings++;
    }
    HAL_Delay(1);
    timeout++;
  }
  ad7172_disable_channel(&adc, 2);

  if (timeout < 100){
    // we gucci
    float adc_reading = 0;
    for(int i = 0; i < 4; i++){
      adc_reading += 0.25*results[i];
    }
    return SUPPLY_SENSE_DIV * ad7172_conv_to_voltage(adc_reading);
  }else{
    // hmmm suspicious
    return -1.0;
  }
}

float sense_12v_supply(){
  HAL_GPIO_WritePin(ANLG_MUX_0_GPIO_Port, ANLG_MUX_0_Pin, GPIO_PIN_RESET);
  HAL_GPIO_WritePin(ANLG_MUX_1_GPIO_Port, ANLG_MUX_1_Pin, GPIO_PIN_RESET);
  HAL_GPIO_WritePin(ANLG_MUX_2_GPIO_Port, ANLG_MUX_2_Pin, GPIO_PIN_RESET);
  HAL_Delay(5); // wait for the output of the mux stabilizes
  return read_supply_channel();
}
float sense_24v_supply(){
  HAL_GPIO_WritePin(ANLG_MUX_0_GPIO_Port, ANLG_MUX_0_Pin, GPIO_PIN_SET);
  HAL_GPIO_WritePin(ANLG_MUX_1_GPIO_Port, ANLG_MUX_1_Pin, GPIO_PIN_RESET);
  HAL_GPIO_WritePin(ANLG_MUX_2_GPIO_Port, ANLG_MUX_2_Pin, GPIO_PIN_RESET);
  HAL_Delay(5); // wait for the output of the mux stabilizes
  return read_supply_channel();
}
float sense_36v_supply(){
  HAL_GPIO_WritePin(ANLG_MUX_0_GPIO_Port, ANLG_MUX_0_Pin, GPIO_PIN_RESET);
  HAL_GPIO_WritePin(ANLG_MUX_1_GPIO_Port, ANLG_MUX_1_Pin, GPIO_PIN_SET);
  HAL_GPIO_WritePin(ANLG_MUX_2_GPIO_Port, ANLG_MUX_2_Pin, GPIO_PIN_RESET);
  HAL_Delay(5); // wait for the output of the mux stabilizes
  return read_supply_channel();
}
float sense_48v_supply(){
  HAL_GPIO_WritePin(ANLG_MUX_0_GPIO_Port, ANLG_MUX_0_Pin, GPIO_PIN_SET);
  HAL_GPIO_WritePin(ANLG_MUX_1_GPIO_Port, ANLG_MUX_1_Pin, GPIO_PIN_SET);
  HAL_GPIO_WritePin(ANLG_MUX_2_GPIO_Port, ANLG_MUX_2_Pin, GPIO_PIN_RESET);
  HAL_Delay(5); // wait for the output of the mux stabilizes
  return read_supply_channel();
}
float sense_vin(){
  HAL_GPIO_WritePin(ANLG_MUX_0_GPIO_Port, ANLG_MUX_0_Pin, GPIO_PIN_RESET);
  HAL_GPIO_WritePin(ANLG_MUX_1_GPIO_Port, ANLG_MUX_1_Pin, GPIO_PIN_RESET);
  HAL_GPIO_WritePin(ANLG_MUX_2_GPIO_Port, ANLG_MUX_2_Pin, GPIO_PIN_SET);
  HAL_Delay(5); // wait for the output of the mux stabilizes
  return read_supply_channel();
}

/**
 * @brief writes value of input to the relay mux select inputs. Doesn't enable mux
 */
void set_supply_mux(uint8_t input){
  HAL_GPIO_WritePin(MUX_A_GPIO_Port, MUX_A_Pin, input & 1);
  HAL_GPIO_WritePin(MUX_B_GPIO_Port, MUX_B_Pin, (input >> 1) & 1);
  HAL_GPIO_WritePin(MUX_C_GPIO_Port, MUX_C_Pin, (input >> 2) & 1);
}

/**
 * @brief enables input relay mux
 */
void enable_supply(){
  // HAL_GPIO_WritePin(MUX_G1_GPIO_Port, MUX_G1_Pin, GPIO_PIN_SET);
  // HAL_GPIO_WritePin(MUX_G2A_GPIO_Port, MUX_G2A_Pin, GPIO_PIN_RESET);
  // HAL_GPIO_WritePin(MUX_G2B_GPIO_Port, MUX_G2B_Pin, GPIO_PIN_RESET);
}

/**
 * @brief disables input relay mux
 */
void disable_supply(){
  HAL_GPIO_WritePin(MUX_G1_GPIO_Port, MUX_G1_Pin, GPIO_PIN_RESET);
  HAL_GPIO_WritePin(MUX_G2A_GPIO_Port, MUX_G2A_Pin, GPIO_PIN_SET);
  HAL_GPIO_WritePin(MUX_G2B_GPIO_Port, MUX_G2B_Pin, GPIO_PIN_SET);
}

bool check_tolerance(float value, float target, float tolerance){
  return value < (target + tolerance) && value > (target - tolerance);
}

/**
 * @brief calculate new duty cycle based on vout_setpt and vout
 */
void refactor_duty_cycle(){
  last_verr = verr;
  verr = (int)vout_setpt - (int)vout;

  // if we're close enough to the setpoint, don't try to correct it
  if(abs(verr) < VOUT_ERROR_MARGIN){return;}

  n_duty_max = (int)((TIMER_PERIOD*vout_setpt*100)/(90*vin));
  verr_integ = clamp(verr_integ + verr, 0, n_duty_max/ki);
  int p = kp*verr;
  int i = ki*verr_integ;
  int d = kd*(verr - last_verr);
  int duty = p + i + d;
  duty = clamp(duty, 0, n_duty_max);

  duty_phase_1 = (uint16_t)duty/2;
  duty_phase_2 = duty_phase_1;

  // uint32_t delta_i = ((vin - vout)*duty_cycle)/L_NH;
  // uint32_t rect_cts = (L_NH * delta_i)/vout;
  rect_phase_1 = (uint16_t)((vin-vout)*duty_phase_1)/vout;
  rect_phase_2 = rect_phase_1;

}

void enable_phase(uint8_t phase){
  phase &= 0x03;
  if(phase == 1){
    debug("Enabling phase 1\r\n");
    HAL_HRTIM_WaveformOutputStart(&hhrtim1, HRTIM_OUTPUT_TA1 | HRTIM_OUTPUT_TA2);
    HAL_HRTIM_WaveformCountStart(&hhrtim1, HRTIM_TIMERID_TIMER_A);
  }else if(phase == 2){
    debug("Enabling phase 2\r\n");
    HAL_HRTIM_WaveformOutputStart(&hhrtim1, HRTIM_OUTPUT_TB1 | HRTIM_OUTPUT_TB2);
    HAL_HRTIM_WaveformCountStart(&hhrtim1, HRTIM_TIMERID_TIMER_B);
  }
}

void disable_phase(uint8_t phase){
  phase &= 0x03;
  if(phase == 1){
    debug("Disabling phase 1\r\n");
    HAL_HRTIM_WaveformOutputStop(&hhrtim1, HRTIM_OUTPUT_TA1 | HRTIM_OUTPUT_TA2);
    HAL_HRTIM_WaveformCountStop(&hhrtim1, HRTIM_TIMERID_TIMER_A);
  }else if(phase == 2){
    debug("Disabling phase 2\r\n");
    HAL_HRTIM_WaveformOutputStop(&hhrtim1, HRTIM_OUTPUT_TB1 | HRTIM_OUTPUT_TB2);
    HAL_HRTIM_WaveformCountStop(&hhrtim1, HRTIM_TIMERID_TIMER_B);
  }
}

/**
 * @brief
 * @param phase either 1 or 2
 * @param duty counts of time the high side should be active for
 * @param rect counts of time the rectifier side should be active for
 */
void update_phase_duty_cycle(uint8_t phase, uint16_t duty, uint16_t rect){
  /* Set the compare value */
  phase &= 0x03;
  hhrtim1.Instance->sTimerxRegs[phase].CMP1xR = duty;
  hhrtim1.Instance->sTimerxRegs[phase].CMP2xR = duty + DEADTIME_COUNTS; // insert deadtime
  hhrtim1.Instance->sTimerxRegs[phase].CMP3xR = clamp16(duty + DEADTIME_COUNTS + rect, duty + DEADTIME_COUNTS + 1, TIMER_PERIOD-DEADTIME_COUNTS);
  if(phase == 1){
    // set master timer compare 1 which triggers phase 2 if it's enabled
    hhrtim1.Instance->sMasterRegs.MCMP1R = duty;
    // hhrtim1.Instance->sTimerxRegs[0].CMP1xR = duty;
  }
}

/* USER CODE END 4 */

void Error_Handler(void)
{
}

/************************ (C) COPYRIGHT STMicroelectronics *****END OF FILE****/
